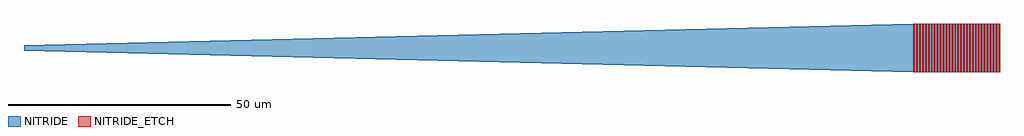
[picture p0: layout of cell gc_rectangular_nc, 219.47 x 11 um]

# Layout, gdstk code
import gdstk
lib = gdstk.Library(unit=1e-6, precision=1e-09)
def R(c, l, rs):  # rectangles x0, y0, x1, y1
    for r in rs: c.add(gdstk.rectangle(r[:2], r[2:], *l))
def A(c, l, x, y, w, h, nx, ny, dx, dy):  # array of equal rectangles
    R(c, l, [(x+i*dx, y+j*dy, x+i*dx+w, y+j*dy+h) for i in range(nx) for j in range(ny)])
def P(c, l, *ps):  # polygons
    for p in ps: c.add(gdstk.Polygon(p, *l))
NITRIDE = (203, 0)
NITRIDE_ETCH = (204, 0)

gc_rectangular_nc = lib.new_cell('gc_rectangular_nc')
R(gc_rectangular_nc, NITRIDE, [(200,-5.5,219.47,5.5)])
P(gc_rectangular_nc, NITRIDE, [(0,0.6),(200,5.5),(200,-5.5),(0,-0.6)])
A(gc_rectangular_nc, NITRIDE_ETCH, 200, -5.5, 0.33, 11, 30, 1, 0.66, 0)

lib.write_gds('gc_rectangular_nc.gds')
